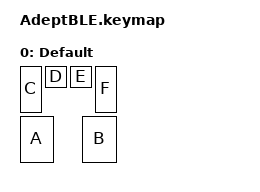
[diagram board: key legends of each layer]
#include <behaviors.dtsi>
#include <dt-bindings/zmk/bt.h>
#include <dt-bindings/zmk/keys.h>



/ {
  keymap {
    compatible = "zmk,keymap";
    default_layer {
      display-name = "Default";
      bindings = <
        &kp C &kp D &kp E &kp F
        &kp A                               &kp B  
      >;
    };
  };
};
